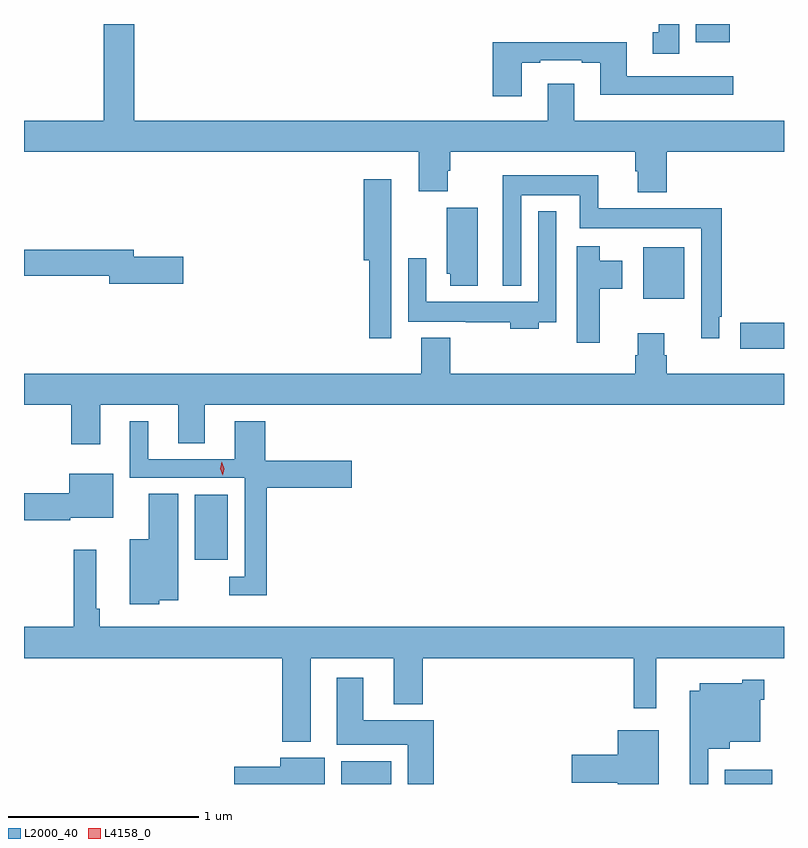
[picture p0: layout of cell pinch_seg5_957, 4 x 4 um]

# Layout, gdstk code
import gdstk
lib = gdstk.Library(unit=1e-6, precision=1e-09)
def R(c, l, rs):  # rectangles x0, y0, x1, y1
    for r in rs: c.add(gdstk.rectangle(r[:2], r[2:], *l))
def P(c, l, *ps):  # polygons
    for p in ps: c.add(gdstk.Polygon(p, *l))
L2000_40 = (2000, 40)
L4158_0 = (4158, 0)

pinch_seg5_957 = lib.new_cell('pinch_seg5_957')
R(pinch_seg5_957, L2000_40, [(746.651,881.405,746.914,881.524), (748.67,881.405,748.918,881.479), (745.88,882.584,746.053,882.928), (748.752,883.697,748.981,883.832), (748.241,883.958,748.456,884.23), (748.517,885.308,748.696,885.405)])
P(pinch_seg5_957, L2000_40, [(748.364,884.732),(748.981,884.732),(748.981,884.896),(747.877,884.896),(747.877,885.091),(747.737,885.091),(747.737,884.896),(745.562,884.896),(745.562,885.405),(745.402,885.405),(745.402,884.896),(744.981,884.896),(744.981,884.732),(747.059,884.732),(747.059,884.524),(747.211,884.524),(747.211,884.633),(747.224,884.633),(747.224,884.732),(748.199,884.732),(748.199,884.631),(748.211,884.631),(748.211,884.519),(748.364,884.519)],
  [(748.429,885.405),(748.322,885.405),(748.322,885.361),(748.289,885.361),(748.289,885.249),(748.429,885.249)],
  [(747.601,885.201),(747.697,885.201),(747.697,885.213),(747.917,885.213),(747.917,885.201),(748.013,885.201),(748.013,885.032),(748.714,885.032),(748.714,885.129),(748.153,885.129),(748.153,885.31),(747.449,885.31),(747.449,885.024),(747.601,885.024)],
  [(748.641,883.864),(748.654,883.864),(748.654,884.434),(748.004,884.434),(748.004,884.608),(747.5,884.608),(747.5,884.027),(747.597,884.027),(747.597,884.504),(747.906,884.504),(747.906,884.33),(748.545,884.33),(748.545,883.752),(748.641,883.752)],
  [(746.913,884.266),(746.914,884.266),(746.914,884.587),(746.768,884.587),(746.768,884.162),(746.797,884.162),(746.797,883.752),(746.913,883.752)],
  [(747.37,884.439),(747.206,884.439),(747.206,884.091),(747.224,884.091),(747.224,884.028),(747.37,884.028)],
  [(747.691,883.836),(747.783,883.836),(747.783,884.419),(747.687,884.419),(747.687,883.942),(747.099,883.942),(747.099,884.173),(747.003,884.173),(747.003,883.838),(747.307,883.838),(747.307,883.836),(747.539,883.836),(747.539,883.802),(747.691,883.802)],
  [(748.012,884.011),(748.129,884.011),(748.129,884.158),(748.012,884.158),(748.012,884.236),(747.89,884.236),(747.89,883.728),(748.012,883.728)],
  [(745.819,884.18),(745.558,884.18),(745.558,884.216),(744.981,884.216),(744.981,884.08),(745.43,884.08),(745.43,884.038),(745.819,884.038)],
  [(745.381,883.4),(745.793,883.4),(745.793,883.198),(745.933,883.198),(745.933,883.4),(748.981,883.4),(748.981,883.564),(748.364,883.564),(748.364,883.662),(748.351,883.662),(748.351,883.777),(748.211,883.777),(748.211,883.662),(748.199,883.662),(748.199,883.564),(747.224,883.564),(747.224,883.753),(747.071,883.753),(747.071,883.564),(744.981,883.564),(744.981,883.4),(745.229,883.4),(745.229,883.194),(745.381,883.194)],
  [(746.258,882.965),(746.707,882.965),(746.707,883.107),(746.252,883.107),(746.252,883.315),(746.09,883.315),(746.09,883.113),(745.636,883.113),(745.636,883.315),(745.538,883.315),(745.538,883.017),(746.142,883.017),(746.142,882.495),(746.061,882.495),(746.061,882.398),(746.258,882.398)],
  [(745.224,882.806),(745.45,882.806),(745.45,883.039),(745.22,883.039),(745.22,882.936),(744.981,882.936),(744.981,882.794),(745.224,882.794)],
  [(745.692,882.371),(745.792,882.371),(745.792,882.932),(745.637,882.932),(745.637,882.694),(745.538,882.694),(745.538,882.35),(745.692,882.35)],
  [(746.491,882.068),(746.927,882.068),(746.927,881.825),(747.08,881.825),(747.08,882.068),(748.189,882.068),(748.189,881.805),(748.308,881.805),(748.308,882.068),(748.981,882.068),(748.981,882.232),(745.379,882.232),(745.379,882.328),(745.36,882.328),(745.36,882.637),(745.243,882.637),(745.243,882.232),(744.981,882.232),(744.981,882.068),(746.339,882.068),(746.339,881.627),(746.491,881.627)],
  [(747.137,881.74),(746.767,881.74),(746.767,881.965),(746.627,881.965),(746.627,881.612),(747.002,881.612),(747.002,881.405),(747.137,881.405)],
  [(748.581,881.591),(748.696,881.591),(748.696,881.627),(748.855,881.627),(748.855,881.849),(748.877,881.849),(748.877,881.953),(748.761,881.953),(748.761,881.935),(748.538,881.935),(748.538,881.896),(748.484,881.896),(748.484,881.405),(748.581,881.405)],
  [(748.321,881.689),(748.106,881.689),(748.106,881.558),(747.864,881.558),(747.864,881.411),(748.106,881.411),(748.106,881.405),(748.321,881.405)],
  [(746.563,881.542),(746.33,881.542),(746.33,881.495),(746.088,881.495),(746.088,881.405),(746.563,881.405)])
P(pinch_seg5_957, L4158_0, [(746.026,883.029),(746.026,883.029),(746.014,883.065),(746.023,883.101),(746.023,883.101),(746.023,883.101),(746.034,883.065),(746.026,883.029)])

lib.write_gds('pinch_seg5_957.gds')
